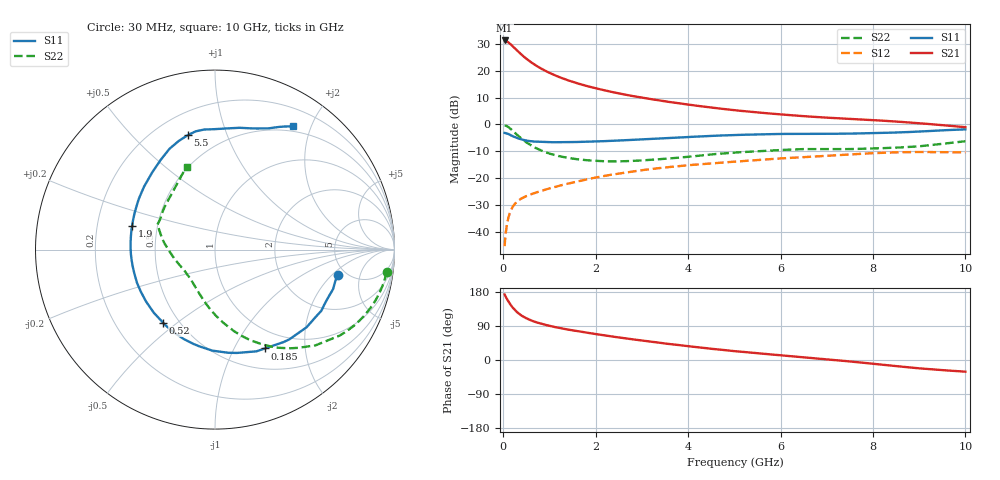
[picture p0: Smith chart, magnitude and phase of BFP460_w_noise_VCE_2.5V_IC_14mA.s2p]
! (c) 2016  Infineon Technologies AG, Munich
! Infineon Technologies  Discrete & RF Semiconductors
! BFP460
! VCE =  2.5 V,  IC =  14 mA
! Common Emitter S-Parameters:  Jan 2016
# GHz  S  MA  R  50
!  f  S11  S21  S12  S22
! GHz  MAG  ANG  MAG  ANG  MAG  ANG  MAG  ANG
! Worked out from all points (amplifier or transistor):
!   229 points, 30 MHz to 10 GHz, reference 50 ohm
!   highest |S21| = 31.2 dB at 30 MHz (marker M1)
!   |S21| within 3 dB of that: start of sweep to 257.4 MHz
!   unconditionally stable (mu >= 1): 2.117 GHz to 7.853 GHz
!   at 280 MHz: K = 0.33, MSG = 28.4 dB, |S12| = -29.0 dB
!   at 1.78 GHz: K = 0.97, MSG = 17.4 dB, |S12| = -20.5 dB
!   at 10 GHz: K = 0.97, MSG = 4.7 dB, |S12| = -10.3 dB
!   lowest NFmin = 1.09 dB at 450 MHz
!   S11 on the Smith chart (normalised r, x): 30 MHz: 4.29, -2.32; 185 MHz: 0.75, -1.33; 520 MHz: 0.41, -0.45; 1.9 GHz: 0.36, +0.12; 5.5 GHz: 0.33, +0.73; 10 GHz: 0.43, +1.73
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0.03  0.6972 -11.5  36.35 173.0  0.0055 84.2  0.9645 -7.5
0.07  0.6817 -26.6  35.33 163.1  0.0123 78.6  0.9393 -17.2
0.11  0.6691 -40.3  33.51 155.1  0.0183 72.2  0.8963 -26.3
0.15  0.6415 -53.4  31.42 147.2  0.0237 66.8  0.8432 -34.7
0.185  0.6167 -63.3  29.49 141.6  0.0275 63.0  0.7917 -40.8
0.2  0.6121 -67.8  28.75 139.0  0.0292 61.7  0.7727 -43.7
0.26  0.5795 -82.7  25.6 130.9  0.0342 57.0  0.6921 -52.6
0.34  0.5461 -99.1  21.96 122.3  0.0394 52.9  0.5992 -62.5
0.45  0.5147 -116.7  18.04 113.2  0.0448 49.9  0.5012 -73.1
0.52  0.4997 -125.2  16.17 109.1  0.0476 49.0  0.4545 -78.1
0.7  0.4809 -143.1  12.55 100.1  0.0542 48.3  0.3672 -89.4
0.9  0.4724 -157.0  10.02 93.1  0.0613 48.7  0.3088 -98.8
1.2  0.4682 -172.1  7.665 84.9  0.0723 49.5  0.2591 -109.9
1.7  0.4752 170.0  5.5 74.2  0.0916 49.7  0.2215 -124.2
1.9  0.4805 164.0  4.943 70.3  0.0995 49.3  0.2139 -129.3
2.6  0.5096 146.5  3.635 57.8  0.1268 46.2  0.2073 -147.1
3.4  0.5485 130.8  2.776 45.3  0.1557 40.9  0.2273 -164.8
5.1  0.6413 107.4  1.806 22.4  0.2069 29.7  0.3045 167.1
5.5  0.6548 103.5  1.673 17.8  0.2194 27.3  0.3173 163.5
6.8  0.6706 92.4  1.373 3.8  0.256 18.4  0.3492 155.3
8.4  0.7052 73.3  1.149 -14.9  0.3025 4.8  0.3684 139.3
10  0.8119 57.8  0.892 -30.8  0.3038 -7.6  0.4886 108.9
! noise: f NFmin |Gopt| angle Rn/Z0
0.45  1.09  0.04  41  0.14
1.9  1.24  0.11  -165  0.12
3.5  1.23  0.36  -131  0.13
